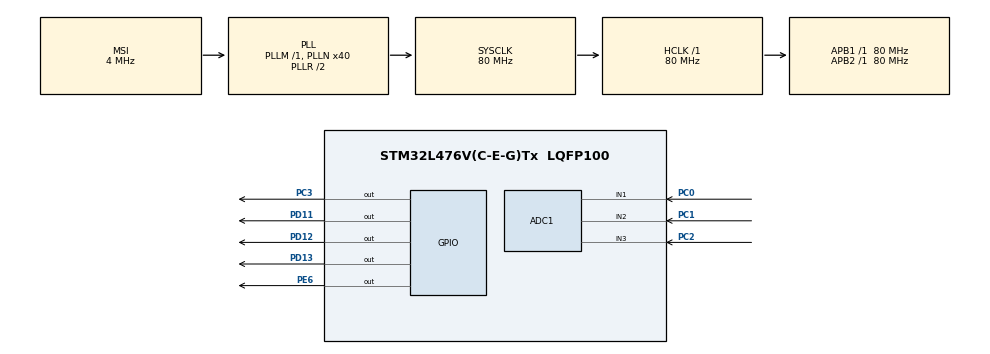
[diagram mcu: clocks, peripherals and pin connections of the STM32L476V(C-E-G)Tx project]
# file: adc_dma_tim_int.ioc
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ADC1.Channel-0\#ChannelRegularConversion=ADC_CHANNEL_1
ADC1.Channel-1\#ChannelRegularConversion=ADC_CHANNEL_1
ADC1.Channel-2\#ChannelRegularConversion=ADC_CHANNEL_1
ADC1.DMAContinuousRequests=ENABLE
ADC1.ExternalTrigConv=ADC_EXTERNALTRIG_T8_TRGO
ADC1.NbrOfConversion=3
ADC1.NbrOfConversionFlag=1
ADC1.OffsetNumber-0\#ChannelRegularConversion=ADC_OFFSET_NONE
ADC1.OffsetNumber-1\#ChannelRegularConversion=ADC_OFFSET_NONE
ADC1.OffsetNumber-2\#ChannelRegularConversion=ADC_OFFSET_NONE
ADC1.Rank-0\#ChannelRegularConversion=1
ADC1.Rank-1\#ChannelRegularConversion=2
ADC1.Rank-2\#ChannelRegularConversion=3
ADC1.SamplingTime-0\#ChannelRegularConversion=ADC_SAMPLETIME_247CYCLES_5
ADC1.SamplingTime-1\#ChannelRegularConversion=ADC_SAMPLETIME_247CYCLES_5
ADC1.SamplingTime-2\#ChannelRegularConversion=ADC_SAMPLETIME_247CYCLES_5
ADC1.master=1
Dma.ADC1.0.Direction=DMA_PERIPH_TO_MEMORY
Dma.ADC1.0.Instance=DMA1_Channel1
Dma.ADC1.0.MemDataAlignment=DMA_MDATAALIGN_HALFWORD
Dma.ADC1.0.MemInc=DMA_MINC_ENABLE
Dma.ADC1.0.Mode=DMA_CIRCULAR
Dma.ADC1.0.PeriphDataAlignment=DMA_PDATAALIGN_HALFWORD
Dma.ADC1.0.PeriphInc=DMA_PINC_DISABLE
Dma.ADC1.0.Priority=DMA_PRIORITY_LOW
Dma.Request0=ADC1
Mcu.Family=STM32L4
Mcu.Name=STM32L476V(C-E-G)Tx
Mcu.Package=LQFP100
NVIC.DMA1_Channel1_IRQn=true\:0\:0\:false\:false\:true\:false\:true
NVIC.PriorityGroup=NVIC_PRIORITYGROUP_4
NVIC.TIM8_UP_IRQn=true\:0\:0\:false\:false\:true\:true\:true
PC0.Signal=ADCx_IN1
PC1.Signal=ADCx_IN2
PC2.Signal=ADCx_IN3
PC3.Signal=GPIO_Output
PD11.Signal=GPIO_Output
PD12.Signal=GPIO_Output
PD13.Signal=GPIO_Output
PE6.Signal=GPIO_Output
ProjectManager.HeapSize=0x200
ProjectManager.StackSize=0x400
ProjectManager.TargetToolchain=STM32CubeIDE
RCC.ADCFreq_Value=32000000
RCC.AHBFreq_Value=80000000
RCC.APB1Freq_Value=80000000
RCC.APB1TimFreq_Value=80000000
RCC.APB2Freq_Value=80000000
RCC.APB2TimFreq_Value=80000000
RCC.CortexFreq_Value=80000000
RCC.HCLKFreq_Value=80000000
RCC.HSE_VALUE=8000000
RCC.HSI_VALUE=16000000
RCC.LSE_VALUE=32768
RCC.MSI_VALUE=4000000
RCC.PLLN=40
RCC.PLLSAI1N=16
RCC.SYSCLKFreq_VALUE=80000000
RCC.SYSCLKSource=RCC_SYSCLKSOURCE_PLLCLK
RCC.USBFreq_Value=32000000
RCC.VCOOutputFreq_Value=160000000
SH.ADCx_IN1.0=ADC1_IN1,IN1-Single-Ended
SH.ADCx_IN2.0=ADC1_IN2,IN2-Single-Ended
SH.ADCx_IN3.0=ADC1_IN3,IN3-Single-Ended
TIM8.AutoReloadPreload=TIM_AUTORELOAD_PRELOAD_ENABLE
TIM8.Period=24
TIM8.Prescaler=124
TIM8.TIM_MasterOutputTrigger=TIM_TRGO_UPDATE
VP_TIM8_VS_ClockSourceINT.Mode=Internal
board=custom

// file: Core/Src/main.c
/* USER CODE BEGIN Header */
/**
  ******************************************************************************
  * @file           : main.c
  * @brief          : Main program body
  ******************************************************************************
  * @attention
  *
  * <h2><center>&copy; Copyright (c) 2021 STMicroelectronics.
  * All rights reserved.</center></h2>
  *
  * This software component is licensed by ST under BSD 3-Clause license,
  * the "License"; You may not use this file except in compliance with the
  * License. You may obtain a copy of the License at:
  *                        opensource.org/licenses/BSD-3-Clause
  *
  ******************************************************************************
  */
/* USER CODE END Header */

#include "main.h"
#include "adc.h"
#include "dma.h"
#include "tim.h"
#include "gpio.h"

/* USER CODE BEGIN PV */
#define NUM_SAMPLES 512
#define HALF 0U
#define FULL 1U
/* USER CODE END PV */

void SystemClock_Config(void);
/* USER CODE BEGIN PFP */
void Acc_axis_formation(void);
/* USER CODE END PFP */

/* USER CODE BEGIN 0 */
uint16_t raw_data[NUM_SAMPLES*3];
float x_raw[NUM_SAMPLES];
float y_raw[NUM_SAMPLES];
float z_raw[NUM_SAMPLES];

int buf_ready = HALF;
/* USER CODE END 0 */

int main(void)
{

  /* MCU Configuration--------------------------------------------------------*/

  /* Reset of all peripherals, Initializes the Flash interface and the Systick. */
  HAL_Init();

  /* Configure the system clock */
  SystemClock_Config();

  /* Initialize all configured peripherals */
  MX_GPIO_Init();
  MX_DMA_Init();
  MX_ADC1_Init();
  MX_TIM8_Init();
  /* USER CODE BEGIN 2 */

  // we should calibrate the ADC,
  if (HAL_ADCEx_Calibration_Start(&hadc1, ADC_SINGLE_ENDED) != HAL_OK) HAL_GPIO_WritePin(GPIOD, GPIO_PIN_13, SET);
  //  Enable the -/+ 2g scale...
    HAL_GPIO_WritePin(GPIOE, GPIO_PIN_6, RESET);

  // put sensor in the normal Mode
    HAL_GPIO_WritePin(GPIOC, GPIO_PIN_3, RESET);

  if (HAL_ADC_Start_DMA(&hadc1, (uint32_t *) raw_data, NUM_SAMPLES*3) != HAL_OK) HAL_GPIO_WritePin(GPIOD, GPIO_PIN_13, SET);

  HAL_TIM_Base_Start_IT(&htim8);
  /* USER CODE END 2 */

  /* Infinite loop */
  while (1)
  {

  }
}

void SystemClock_Config(void)
{
  RCC_OscInitTypeDef RCC_OscInitStruct = {0};
  RCC_ClkInitTypeDef RCC_ClkInitStruct = {0};
  RCC_PeriphCLKInitTypeDef PeriphClkInit = {0};

  /** Initializes the CPU, AHB and APB busses clocks
  */
  RCC_OscInitStruct.OscillatorType = RCC_OSCILLATORTYPE_MSI;
  RCC_OscInitStruct.MSIState = RCC_MSI_ON;
  RCC_OscInitStruct.MSICalibrationValue = 0;
  RCC_OscInitStruct.MSIClockRange = RCC_MSIRANGE_6;
  RCC_OscInitStruct.PLL.PLLState = RCC_PLL_ON;
  RCC_OscInitStruct.PLL.PLLSource = RCC_PLLSOURCE_MSI;
  RCC_OscInitStruct.PLL.PLLM = 1;
  RCC_OscInitStruct.PLL.PLLN = 40;
  RCC_OscInitStruct.PLL.PLLP = RCC_PLLP_DIV7;
  RCC_OscInitStruct.PLL.PLLQ = RCC_PLLQ_DIV2;
  RCC_OscInitStruct.PLL.PLLR = RCC_PLLR_DIV2;
  if (HAL_RCC_OscConfig(&RCC_OscInitStruct) != HAL_OK)
  {
    Error_Handler();
  }
  /** Initializes the CPU, AHB and APB busses clocks
  */
  RCC_ClkInitStruct.ClockType = RCC_CLOCKTYPE_HCLK|RCC_CLOCKTYPE_SYSCLK
                              |RCC_CLOCKTYPE_PCLK1|RCC_CLOCKTYPE_PCLK2;
  RCC_ClkInitStruct.SYSCLKSource = RCC_SYSCLKSOURCE_PLLCLK;
  RCC_ClkInitStruct.AHBCLKDivider = RCC_SYSCLK_DIV1;
  RCC_ClkInitStruct.APB1CLKDivider = RCC_HCLK_DIV1;
  RCC_ClkInitStruct.APB2CLKDivider = RCC_HCLK_DIV1;

  if (HAL_RCC_ClockConfig(&RCC_ClkInitStruct, FLASH_LATENCY_4) != HAL_OK)
  {
    Error_Handler();
  }
  PeriphClkInit.PeriphClockSelection = RCC_PERIPHCLK_ADC;
  PeriphClkInit.AdcClockSelection = RCC_ADCCLKSOURCE_PLLSAI1;
  PeriphClkInit.PLLSAI1.PLLSAI1Source = RCC_PLLSOURCE_MSI;
  PeriphClkInit.PLLSAI1.PLLSAI1M = 1;
  PeriphClkInit.PLLSAI1.PLLSAI1N = 16;
  PeriphClkInit.PLLSAI1.PLLSAI1P = RCC_PLLP_DIV7;
  PeriphClkInit.PLLSAI1.PLLSAI1Q = RCC_PLLQ_DIV2;
  PeriphClkInit.PLLSAI1.PLLSAI1R = RCC_PLLR_DIV2;
  PeriphClkInit.PLLSAI1.PLLSAI1ClockOut = RCC_PLLSAI1_ADC1CLK;
  if (HAL_RCCEx_PeriphCLKConfig(&PeriphClkInit) != HAL_OK)
  {
    Error_Handler();
  }
  /** Configure the main internal regulator output voltage
  */
  if (HAL_PWREx_ControlVoltageScaling(PWR_REGULATOR_VOLTAGE_SCALE1) != HAL_OK)
  {
    Error_Handler();
  }
}

/* USER CODE BEGIN 4 */
void HAL_ADC_ConvHalfCpltCallback(ADC_HandleTypeDef *hadc)
{
  HAL_GPIO_WritePin(GPIOD, GPIO_PIN_13, SET);
  buf_ready = HALF;
 Acc_axis_formation();
}

void HAL_ADC_ConvCpltCallback(ADC_HandleTypeDef *hadc)
{
  HAL_GPIO_WritePin(GPIOD, GPIO_PIN_13, RESET);
  buf_ready = FULL;
   Acc_axis_formation();

}

void Acc_axis_formation(void)
{
    uint16_t k = 0U, i = 0U;
    if (buf_ready == HALF)
    {
      for(i=0; i < (NUM_SAMPLES*3)>>1; i += 3)
      {
          x_raw[k] = ((float)raw_data[i])*0.967474;
          y_raw[k] = ((float)raw_data[i+1])*0.967474;
          z_raw[k] = ((float)raw_data[i+2])*0.967474;
          k += 1;
      }
      k = 0U ;
    }
    else if (buf_ready == FULL)
    {
      for (i = (NUM_SAMPLES*3)>>1; i< (NUM_SAMPLES*3); i+=3)
      {
          x_raw[k + ((NUM_SAMPLES*3)>>1)] = ((float)raw_data[i])*0.967474;
          y_raw[k + ((NUM_SAMPLES*3)>>1)] = ((float)raw_data[i+1])*0.967474;
          z_raw[k + ((NUM_SAMPLES*3)>>1)] = ((float)raw_data[i+2])*0.967474;
          k += 1;
      }
      k = 0U ;
    }

}
/* USER CODE END 4 */

void Error_Handler(void)
{
}

/************************ (C) COPYRIGHT STMicroelectronics *****END OF FILE****/
